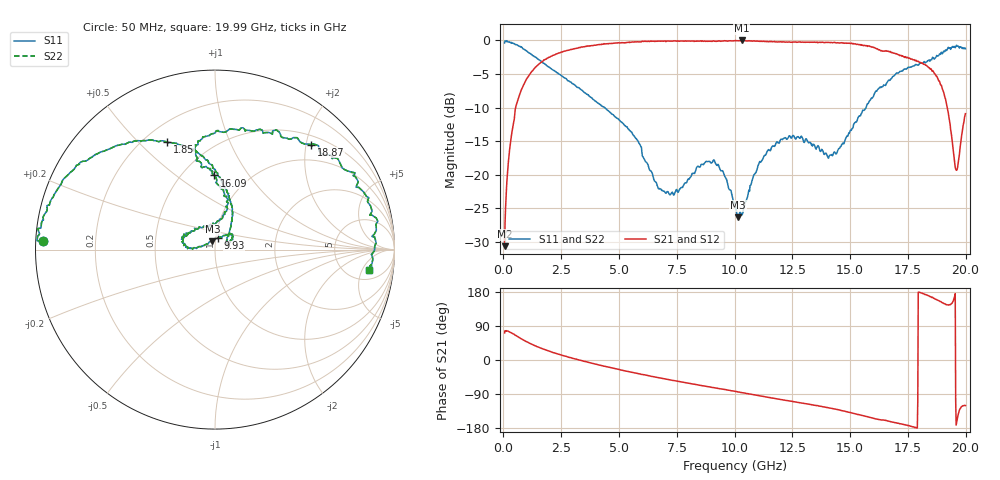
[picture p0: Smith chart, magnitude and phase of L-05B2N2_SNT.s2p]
! Data Taken on a HP 8720C VNA using a shunt-through fixture with TRL* de-embedding
#	mhz	s	ma	r	50
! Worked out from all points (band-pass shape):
!   998 points, 50 MHz to 19.99 GHz, reference 50 ohm
!   highest |S21| = 0.00 dB at 10.31 GHz (marker M1); lowest = -30.6 dB at 50 MHz (marker M2)
!   |S21| within 3 dB of the highest: 1.728 GHz to 17.81 GHz (16.08 GHz wide, 165 % of centre); 17.83358 GHz to 17.86432 GHz (30.74 MHz wide, 0.172 % of centre)
!   lowest |S11| = -26.3 dB at 10.15 GHz (marker M3), VSWR 1.10, Z = 48.4 + j4.45 ohm
!   |S11| at or under -10 dB: 4.383 GHz to 15.69 GHz (11.31 GHz wide, 113 % of centre)
!   |S22| runs from -26.3 to 0.0 dB; largest |S21 - S12| = 0
!   S11 on the Smith chart (normalised r, x): 50 MHz: 0.02, +0.03; 1.85 GHz: 0.29, +0.61; 9.93 GHz: 1.02, +0.13; 16.09 GHz: 0.70, +0.70; 18.87 GHz: 0.66, +2.10; 19.99 GHz: 8, -7
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50  0.9591 177.1  0.02941 71.5  0.02941 71.5  0.9591 177.1
250  0.9697 170.3  0.1437 74.4  0.1437 74.4  0.9697 170.3
590  0.9272 154.4  0.3457 62.7  0.3457 62.7  0.9272 154.4
1850  0.654 114.0  0.7258 26.0  0.7258 26.0  0.654 114.0
3390  0.4268 88.1  0.8942 -1.6  0.8942 -1.6  0.4268 88.1
5550  0.2076 62.5  0.9731 -32.2  0.9731 -32.2  0.2076 62.5
6710  0.0786 34.9  0.9868 -46.5  0.9868 -46.5  0.0786 34.9
9090  0.1287 41.2  0.9917 -72.9  0.9917 -72.9  0.1287 41.2
9930  0.0659 76.7  0.9945 -81.7  0.9945 -81.7  0.0659 76.7
10030  0.06038 90.1  0.9951 -82.7  0.9951 -82.7  0.06038 90.1
10150  0.04816 107.5  0.9951 -84.4  0.9951 -84.4  0.04816 107.5
10310  0.05008 139.2  1 -86.1  1 -86.1  0.05008 139.2
11450  0.1525 176.8  0.979 -98.7  0.979 -98.7  0.1525 176.8
13350  0.1694 144.8  0.9706 -118.5  0.9706 -118.5  0.1694 144.8
14430  0.1462 88.7  0.9604 -130.5  0.9604 -130.5  0.1462 88.7
16090  0.4134 90.6  0.8792 -155.1  0.8792 -155.1  0.4134 90.6
16670  0.5067 101.4  0.8309 -161.6  0.8309 -161.6  0.5067 101.4
17830  0.6623 89.3  0.7072 -177.7  0.7072 -177.7  0.6623 89.3
18870  0.7946 47.4  0.4973 155.3  0.4973 155.3  0.7946 47.4
19210  0.8607 30.5  0.3139 145.6  0.3139 145.6  0.8607 30.5
19590  0.9154 11.1  0.1085 -171.8  0.1085 -171.8  0.9154 11.1
19990  0.8669 -7.5  0.285 -120.1  0.285 -120.1  0.8669 -7.5
